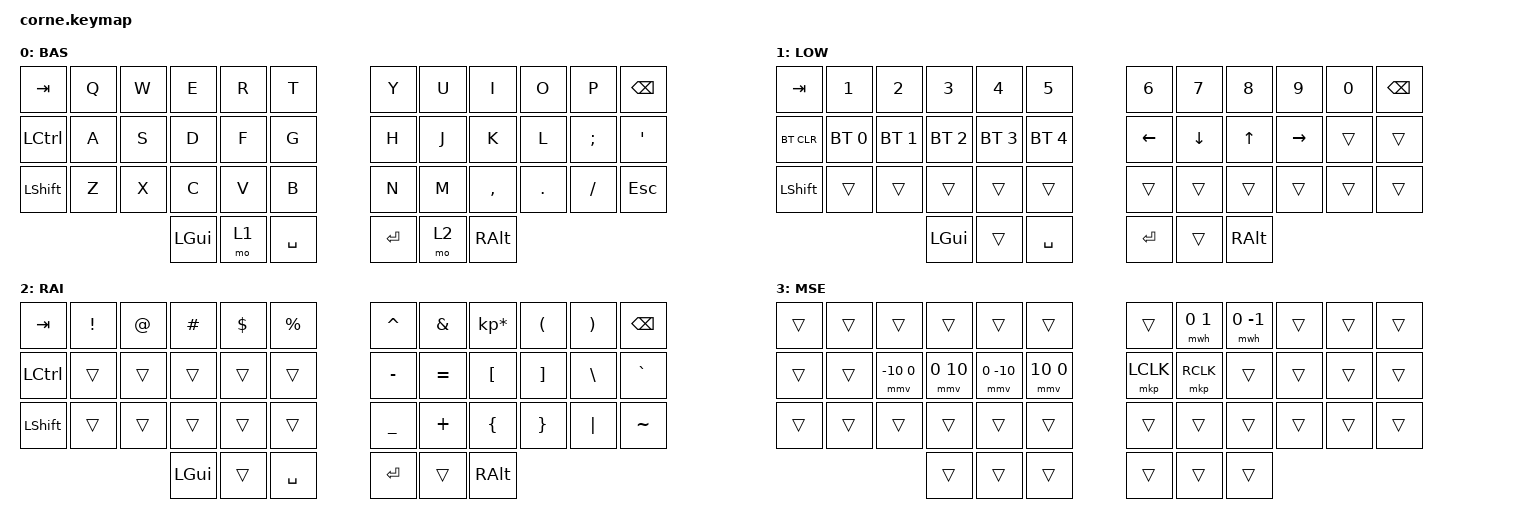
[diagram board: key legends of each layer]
/*
 * Copyright (c) 2020 The ZMK Contributors
 *
 * SPDX-License-Identifier: MIT
 */

#include <behaviors.dtsi>
#include <dt-bindings/zmk/keys.h>
#include <dt-bindings/zmk/bt.h>
#include <dt-bindings/zmk/mouse.h>
#include <dt-bindings/zmk/outputs.h>
#include <dt-bindings/zmk/ext_power.h>
#include <dt-bindings/zmk/reset.h>

/ {
    behaviors {
        mmv: mouse_move {
            compatible = "zmk,behavior-mouse-move";
            #binding-cells = <2>;
            acceleration-exponent = <1>;
            time-to-max-speed-ms = <300>;
        };

        mwh: mouse_wheel {
            compatible = "zmk,behavior-mouse-wheel";
            #binding-cells = <2>;
        };
    };

    conditional_layers {
        compatible = "zmk,conditional-layers";
        tri_layer {
            if-layers = <1 2>;
            then-layer = <3>;
        };
    };

    keymap {
        compatible = "zmk,keymap";

        default_layer {
            display-name = "BAS";

            bindings = <
&kp TAB    &kp Q  &kp W  &kp E     &kp R  &kp T        &kp Y    &kp U  &kp I      &kp O    &kp P     &kp BSPC
&kp LCTRL  &kp A  &kp S  &kp D     &kp F  &kp G        &kp H    &kp J  &kp K      &kp L    &kp SEMI  &kp SQT
&kp LSHFT  &kp Z  &kp X  &kp C     &kp V  &kp B        &kp N    &kp M  &kp COMMA  &kp DOT  &kp FSLH  &kp ESC
                         &kp LGUI  &mo 1  &kp SPACE    &kp RET  &mo 2  &kp RALT
            >;
        };

        lower_layer {
            display-name = "LOW";

            bindings = <
&kp TAB     &kp N1        &kp N2        &kp N3        &kp N4        &kp N5          &kp N6    &kp N7    &kp N8    &kp N9     &kp N0  &kp BSPC
&bt BT_CLR  &bt BT_SEL 0  &bt BT_SEL 1  &bt BT_SEL 2  &bt BT_SEL 3  &bt BT_SEL 4    &kp LEFT  &kp DOWN  &kp UP    &kp RIGHT  &trans  &trans
&kp LSHFT   &trans        &trans        &trans        &trans        &trans          &trans    &trans    &trans    &trans     &trans  &trans
                                        &kp LGUI      &trans        &kp SPACE       &kp RET   &trans    &kp RALT
            >;
        };

        raise_layer {
            display-name = "RAI";

            bindings = <
&kp TAB    &kp EXCL  &kp AT  &kp HASH   &kp DLLR  &kp PRCNT    &kp CARET  &kp AMPS   &kp KP_MULTIPLY  &kp LPAR  &kp RPAR  &kp BSPC
&kp LCTRL  &trans    &trans  &trans     &trans    &trans      &kp MINUS  &kp EQUAL  &kp LBKT         &kp RBKT  &kp BSLH  &kp GRAVE
&kp LSHFT  &trans    &trans  &trans     &trans    &trans      &kp UNDER  &kp PLUS   &kp LBRC         &kp RBRC  &kp PIPE  &kp TILDE
                             &kp LGUI   &trans     &kp SPACE   &kp RET    &trans     &kp RALT
            >;
        };

        mouse_layer {
            display-name = "MSE";

            bindings = <
&trans &trans &trans &trans &trans &trans        &trans      &mwh 0 1  &mwh 0 -1 &trans      &trans      &trans
&trans &trans &mmv -10 0    &mmv 0 10  &mmv 0 -10 &mmv 10 0   &mkp LCLK &mkp RCLK &trans      &trans      &trans      &trans
&trans &trans &trans       &trans      &trans      &trans     &trans      &trans      &trans      &trans      &trans      &trans
                           &trans      &trans      &trans      &trans      &trans      &trans
            >;
        };

        extra_1 {
            status = "reserved";
        };

        extra_2 {
            status = "reserved";
        };

        extra_3 {
            status = "reserved";
        };
    };
};
